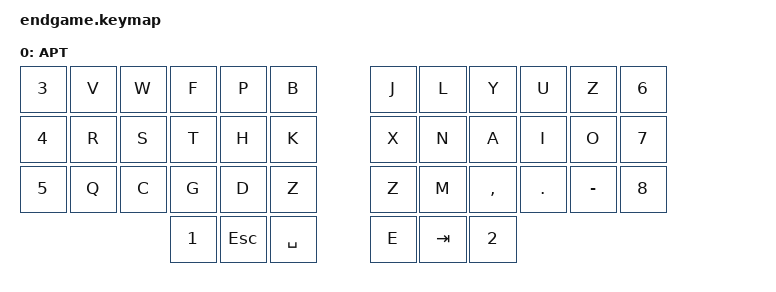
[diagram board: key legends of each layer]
/*
 * Copyright (c) 2021 The ZMK Contributors
 *
 * SPDX-License-Identifier: MIT
 */

#include <behaviors.dtsi>
#include <dt-bindings/zmk/keys.h>
#include <dt-bindings/zmk/bt.h>
#include <dt-bindings/zmk/outputs.h>



/ {
    chosen {
          zmk,battery = &vbatt;
    };

    vbatt: vbatt {
            compatible = "zmk,battery-nrf-vddh";
            label = "VBATT";
    };


    keymap {
        compatible = "zmk,keymap";

        aptmak {
            label = "APT";

            bindings = <
                &kp N3    &kp V    &kp W     &kp F     &kp P    &kp B     &kp J     &kp L    &kp Y     &kp U     &kp Z     &kp N6
                &kp N4    &kp R    &kp S     &kp T     &kp H    &kp K     &kp X     &kp N    &kp A     &kp I     &kp O     &kp N7
                &kp N5    &kp Q    &kp C     &kp G     &kp D    &kp Z     &kp Z     &kp M    &kp COMMA &kp DOT   &kp MINUS &kp N8
                &kp N1                                 &kp ESC  &kp SPACE &kp E     &kp TAB                                &kp N2
            >;
        };

    };
};
